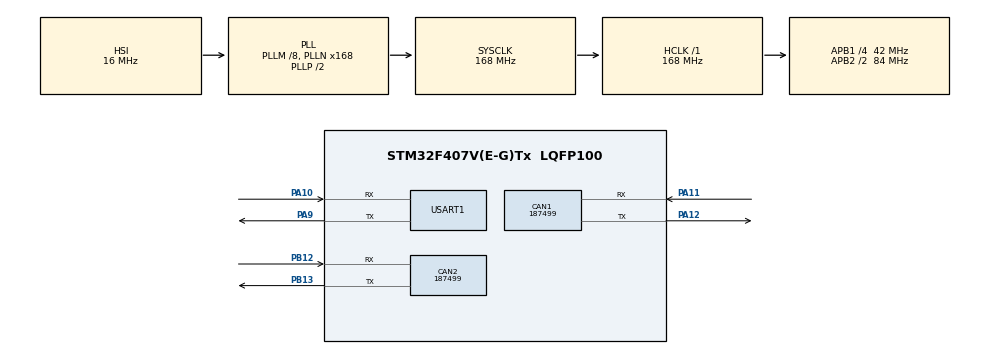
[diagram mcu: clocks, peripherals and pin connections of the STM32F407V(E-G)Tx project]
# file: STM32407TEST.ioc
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CAN1.BS1=CAN_BS1_11TQ
CAN1.BS2=CAN_BS2_2TQ
CAN1.CalculateBaudRate=187499
CAN1.CalculateTimeBit=5333
CAN1.CalculateTimeQuantum=380.95238095238096
CAN1.Mode=CAN_MODE_NORMAL
CAN2.BS1=CAN_BS1_11TQ
CAN2.BS2=CAN_BS2_2TQ
CAN2.CalculateBaudRate=187499
CAN2.CalculateTimeBit=5333
CAN2.CalculateTimeQuantum=380.95238095238096
FREERTOS.Tasks01=defaultTask,24,128,StartDefaultTask,Default,NULL,Dynamic,NULL,NULL
Mcu.Family=STM32F4
Mcu.Name=STM32F407V(E-G)Tx
Mcu.Package=LQFP100
NVIC.CAN1_RX0_IRQn=true\:5\:0\:false\:false\:true\:true\:true\:true\:true
NVIC.CAN2_RX0_IRQn=true\:5\:0\:false\:false\:true\:true\:true\:true\:true
NVIC.PriorityGroup=NVIC_PRIORITYGROUP_4
NVIC.TIM6_DAC_IRQn=true\:15\:0\:false\:false\:true\:false\:false\:true\:true
NVIC.TimeBase=TIM6_DAC_IRQn
NVIC.TimeBaseIP=TIM6
PA10.Mode=Asynchronous
PA10.Signal=USART1_RX
PA11.GPIO_PuPd=GPIO_PULLUP
PA11.Mode=CAN_Activate
PA11.Signal=CAN1_RX
PA12.Mode=CAN_Activate
PA12.Signal=CAN1_TX
PA13.Mode=Serial_Wire
PA13.Signal=SYS_JTMS-SWDIO
PA14.Mode=Serial_Wire
PA14.Signal=SYS_JTCK-SWCLK
PA9.Mode=Asynchronous
PA9.Signal=USART1_TX
PB12.Mode=CAN_Activate
PB12.Signal=CAN2_RX
PB13.Mode=CAN_Activate
PB13.Signal=CAN2_TX
PH0-OSC_IN.Mode=HSE-External-Oscillator
PH0-OSC_IN.Signal=RCC_OSC_IN
PH1-OSC_OUT.Mode=HSE-External-Oscillator
PH1-OSC_OUT.Signal=RCC_OSC_OUT
ProjectManager.HeapSize=0x200
ProjectManager.StackSize=0x400
ProjectManager.TargetToolchain=STM32CubeIDE
RCC.48MHZClocksFreq_Value=84000000
RCC.AHBFreq_Value=168000000
RCC.APB1CLKDivider=RCC_HCLK_DIV4
RCC.APB1Freq_Value=42000000
RCC.APB1TimFreq_Value=84000000
RCC.APB2CLKDivider=RCC_HCLK_DIV2
RCC.APB2Freq_Value=84000000
RCC.APB2TimFreq_Value=168000000
RCC.CortexFreq_Value=168000000
RCC.HCLKFreq_Value=168000000
RCC.HSE_VALUE=8000000
RCC.HSI_VALUE=16000000
RCC.LSE_VALUE=32768
RCC.PLLM=8
RCC.PLLN=168
RCC.SYSCLKFreq_VALUE=168000000
RCC.SYSCLKSource=RCC_SYSCLKSOURCE_PLLCLK
RCC.VCOOutputFreq_Value=336000000
USART1.VirtualMode=VM_ASYNC
VP_FREERTOS_VS_CMSIS_V2.Mode=CMSIS_V2
VP_SYS_VS_tim6.Mode=TIM6
board=custom

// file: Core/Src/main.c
/* USER CODE BEGIN Header */
/**
  ******************************************************************************
  * @file           : main.c
  * @brief          : Main program body - Automotive Telematics & Gateway (Phase 5)
  *                   Features: Dual bxCAN, J1939 Powertrain, FreeRTOS CMSIS_V2,
  *                             UDS ISO 14229 (0x22, 0x27, 0x14, 0x19),
  *                             ISO-TP ISO 15765-2 Multi-frame VIN Reassembly,
  *                             Flash Sector 7 Crash Freeze Frame Data Logger.
  ******************************************************************************
  * @attention
  *
  * Copyright (c) 2026 STMicroelectronics.
  * All rights reserved.
  *
  ******************************************************************************
  */
/* USER CODE END Header */
#include "main.h"
#include "cmsis_os.h"

/* USER CODE BEGIN Includes */
#include <stdio.h>
#include <string.h>
/* USER CODE END Includes */

CAN_HandleTypeDef hcan1;
CAN_HandleTypeDef hcan2;

UART_HandleTypeDef huart1;

/* Definitions for defaultTask */
osThreadId_t defaultTaskHandle;
const osThreadAttr_t defaultTask_attributes = {
  .name = "defaultTask",
  .stack_size = 128 * 4,
  .priority = (osPriority_t) osPriorityNormal,
};

/* USER CODE BEGIN PV */
osSemaphoreId_t canSemHandle;
osThreadId_t powertrainTaskHandle;
osThreadId_t gatewayRxTaskHandle;
osThreadId_t telematicsTaskHandle;

void StartPowertrainTask(void *argument);
void StartGatewayRxTask(void *argument);
void StartTelematicsTask(void *argument);

typedef struct __attribute__((packed)){
	uint16_t rpm;
	uint8_t speed;
	uint8_t coolant_temp;
	uint8_t throttle;
	uint8_t mil_lamp: 1;
	uint8_t overheat: 1;
	uint8_t drive_mode: 2;
	uint8_t brake_pedal: 1;
	uint8_t reserved: 3;
	uint16_t dtc_code;
} Powertrain_Data_t;

typedef union {
	Powertrain_Data_t data;
	uint8_t raw_bytes[8];
} Powertrain_Packet_u;

Powertrain_Packet_u tx_vehicle;
Powertrain_Packet_u rx_vehicle;

CAN_TxHeaderTypeDef tx_hdr_powertrain;
uint32_t tx_mailbox_can1;

// ============================================================================
// UDS (ISO 14229) & ISO-TP (ISO 15765-2) DEFINITIONS
// ============================================================================
const char VEHICLE_VIN[17] = "VF8VN2026TEST001"; // 17 ký tự VIN chuẩn quốc tế

#define UDS_SID_READ_DID         0x22  // Read Data By Identifier
#define UDS_SID_SECURITY_ACCESS  0x27  // Security Access
#define UDS_SID_READ_DTC         0x19  // Read DTC Information / Freeze Frame
#define UDS_SID_CLEAR_DTC        0x14  // Clear Diagnostic Information
#define UDS_DID_VIN              0xF190 // DID chuẩn số khung VIN

CAN_TxHeaderTypeDef tx_hdr_uds_tester; // ID 0x7DF (Tester phát lệnh)
CAN_TxHeaderTypeDef tx_hdr_uds_ecu;    // ID 0x7E8 (ECU phát trả lời)
uint32_t            tx_mailbox_uds;

uint8_t isotp_rx_buffer[32];
uint8_t isotp_rx_index = 0;
uint8_t isotp_total_len = 0;

char last_vin_received[20] = "CHUA DOC (0xF190)";
char last_security_status[32] = "LOCKED (0x27)";
uint16_t ecu_security_seed = 0;
uint8_t  ecu_security_unlocked = 0;

// ============================================================================
// CRASH DATA LOGGER & FLASH SECTOR 7 DEFINITIONS
// ============================================================================
#define FLASH_CRASH_SECTOR      FLASH_SECTOR_7
#define FLASH_CRASH_ADDR        0x08060000U
#define FLASH_MAGIC_KEY         0xA55A1234U

typedef struct __attribute__((packed)) {
    uint32_t magic_key;     // 0xA55A1234: Co du lieu hop den
    uint32_t timestamp_ms;  // Thoi diem va cham
    uint16_t dtc_code;      // 0x0115 (P0115)
    uint8_t  speed;         // km/h
    uint16_t rpm;           // RPM
    uint8_t  throttle;      // %
    uint8_t  coolant_temp;  // do C
    uint8_t  brake_pedal;   // 1
    uint8_t  crash_severity;// 2 = Critical
} Crash_FreezeFrame_t;

Crash_FreezeFrame_t saved_crash_data;
uint8_t has_saved_crash = 0;
char last_crash_str[64] = "FLASH EMPTY (READY)";
/* USER CODE END PV */

void SystemClock_Config(void);
static void MX_GPIO_Init(void);
static void MX_CAN1_Init(void);
static void MX_USART1_UART_Init(void);
static void MX_CAN2_Init(void);
void StartDefaultTask(void *argument);

/* USER CODE BEGIN 0 */
int _write(int file, char *ptr, int len)
{
  HAL_UART_Transmit(&huart1, (uint8_t *)ptr, len, HAL_MAX_DELAY);
  return len;
}

int __io_putchar(int ch)
{
  HAL_UART_Transmit(&huart1, (uint8_t *)&ch, 1, HAL_MAX_DELAY);
  return ch;
}

// ============================================================================
// FLASH SECTOR 7 DRIVER (NON-VOLATILE CRASH DATA STORAGE)
// ============================================================================
void Flash_Save_CrashData(Crash_FreezeFrame_t *data)
{
    FLASH_EraseInitTypeDef EraseInitStruct;
    uint32_t SectorError = 0;

    HAL_FLASH_Unlock();

    EraseInitStruct.TypeErase    = FLASH_TYPEERASE_SECTORS;
    EraseInitStruct.VoltageRange = FLASH_VOLTAGE_RANGE_3;
    EraseInitStruct.Sector       = FLASH_CRASH_SECTOR;
    EraseInitStruct.NbSectors    = 1;

    if (HAL_FLASHEx_Erase(&EraseInitStruct, &SectorError) == HAL_OK)
    {
        uint32_t *src = (uint32_t *)data;
        uint32_t words_to_write = (sizeof(Crash_FreezeFrame_t) + 3) / 4;
        for (uint32_t i = 0; i < words_to_write; i++)
        {
            HAL_FLASH_Program(FLASH_TYPEPROGRAM_WORD, FLASH_CRASH_ADDR + (i * 4), src[i]);
        }
    }

    HAL_FLASH_Lock();
}

void Flash_Clear_CrashData(void)
{
    FLASH_EraseInitTypeDef EraseInitStruct;
    uint32_t SectorError = 0;

    HAL_FLASH_Unlock();

    EraseInitStruct.TypeErase    = FLASH_TYPEERASE_SECTORS;
    EraseInitStruct.VoltageRange = FLASH_VOLTAGE_RANGE_3;
    EraseInitStruct.Sector       = FLASH_CRASH_SECTOR;
    EraseInitStruct.NbSectors    = 1;

    HAL_FLASHEx_Erase(&EraseInitStruct, &SectorError);

    HAL_FLASH_Lock();
}

uint8_t Flash_Read_CrashData(Crash_FreezeFrame_t *out_data)
{
    Crash_FreezeFrame_t *flash_ptr = (Crash_FreezeFrame_t *)FLASH_CRASH_ADDR;
    if (flash_ptr->magic_key == FLASH_MAGIC_KEY)
    {
        memcpy(out_data, flash_ptr, sizeof(Crash_FreezeFrame_t));
        return 1;
    }
    return 0;
}

void CAN_Filter_Config(void)
{
	CAN_FilterTypeDef sFilterConfig;

	// Bank 0 cho CAN1: Cho qua tat ca (Mask = 0) de nhan ca 0x7DF / 0x7E0
	sFilterConfig.FilterBank = 0;
	sFilterConfig.FilterMode = CAN_FILTERMODE_IDMASK;
	sFilterConfig.FilterScale = CAN_FILTERSCALE_32BIT;
	sFilterConfig.FilterIdHigh = 0x0000;
	sFilterConfig.FilterIdLow = 0x0000;
	sFilterConfig.FilterMaskIdHigh = 0x0000;
	sFilterConfig.FilterMaskIdLow = 0x0000;
	sFilterConfig.FilterFIFOAssignment = CAN_RX_FIFO0;
	sFilterConfig.FilterActivation = ENABLE;
	sFilterConfig.SlaveStartFilterBank = 14;
	HAL_CAN_ConfigFilter(&hcan1, &sFilterConfig);

	// Bank 14 cho CAN2: Cho qua tat ca (Mask = 0) de nhan ca Powertrain 0x0CF00400 va UDS Response 0x7E8
	sFilterConfig.FilterBank = 14;
	sFilterConfig.FilterMode = CAN_FILTERMODE_IDMASK;
	sFilterConfig.FilterScale = CAN_FILTERSCALE_32BIT;
	sFilterConfig.FilterIdHigh = 0x0000;
	sFilterConfig.FilterIdLow = 0x0000;
	sFilterConfig.FilterMaskIdHigh = 0x0000; // Mo Mask = 0 de CAN2 nhan duoc ca 0x7E8 va 0x0CF00400
	sFilterConfig.FilterMaskIdLow = 0x0000;
	sFilterConfig.FilterFIFOAssignment = CAN_RX_FIFO0;
	sFilterConfig.FilterActivation = ENABLE;
	HAL_CAN_ConfigFilter(&hcan1, &sFilterConfig);
}

void HAL_CAN_RxFifo0MsgPendingCallback(CAN_HandleTypeDef *hcan)
{
  CAN_RxHeaderTypeDef rx_hdr;
  uint8_t rx_data[8];

  // ------------------------------------------------------------------------
  // 1. CAN1 (ENGINE ECU) NHAN LENH CHUAN DOAN TU TESTER (ID 0x7DF HOAC 0x7E0)
  // ------------------------------------------------------------------------
  if (hcan->Instance == CAN1)
  {
    if (HAL_CAN_GetRxMessage(hcan, CAN_RX_FIFO0, &rx_hdr, rx_data) == HAL_OK)
    {
      if (rx_hdr.IDE == CAN_ID_STD && (rx_hdr.StdId == 0x7DF || rx_hdr.StdId == 0x7E0))
      {
        uint8_t pci_type = (rx_data[0] & 0xF0) >> 4;

        // a) SINGLE FRAME (0x0...): Tester gui yeu cau UDS
        if (pci_type == 0x00)
        {
          uint8_t sid = rx_data[1];

          // DICH VU 0x22: READ DATA BY IDENTIFIER (DOC SO VIN)
          if (sid == UDS_SID_READ_DID)
          {
            uint16_t did = ((uint16_t)rx_data[2] << 8) | rx_data[3];
            if (did == UDS_DID_VIN)
            {
              // So VIN 17 byte + 3 byte header (0x62, 0xF1, 0x90) = 20 byte!
              // Du lieu > 7 byte -> Bat buoc phat First Frame (FF) theo chuan ISO-TP
              uint8_t ff_data[8];
              ff_data[0] = 0x10; // PCI: First Frame
              ff_data[1] = 0x14; // Tong kich thuoc: 20 byte (0x014)
              ff_data[2] = 0x62; // Positive Response (0x22 + 0x40)
              ff_data[3] = 0xF1;
              ff_data[4] = 0x90;
              ff_data[5] = VEHICLE_VIN[0]; // 'V'
              ff_data[6] = VEHICLE_VIN[1]; // 'F'
              ff_data[7] = VEHICLE_VIN[2]; // '8'
              HAL_CAN_AddTxMessage(&hcan1, &tx_hdr_uds_ecu, ff_data, &tx_mailbox_uds);
            }
          }
          // DICH VU 0x27: SECURITY ACCESS
          else if (sid == UDS_SID_SECURITY_ACCESS)
          {
            uint8_t sub_func = rx_data[2];
            if (sub_func == 0x01) // Xin Seed
            {
              ecu_security_seed = 0x5A3C;
              uint8_t seed_resp[8] = {0x04, 0x67, 0x01, (uint8_t)(ecu_security_seed >> 8), (uint8_t)(ecu_security_seed & 0xFF), 0xAA, 0xAA, 0xAA};
              HAL_CAN_AddTxMessage(&hcan1, &tx_hdr_uds_ecu, seed_resp, &tx_mailbox_uds);
            }
            else if (sub_func == 0x02) // Gui Key
            {
              uint16_t key_rx = ((uint16_t)rx_data[3] << 8) | rx_data[4];
              uint16_t key_exp = ecu_security_seed ^ 0xABCD; // Thuat toan: Key = Seed XOR 0xABCD
              if (key_rx == key_exp)
              {
                ecu_security_unlocked = 1;
                uint8_t key_ok[8] = {0x02, 0x67, 0x02, 0xAA, 0xAA, 0xAA, 0xAA, 0xAA};
                HAL_CAN_AddTxMessage(&hcan1, &tx_hdr_uds_ecu, key_ok, &tx_mailbox_uds);
              }
              else
              {
                ecu_security_unlocked = 0;
                uint8_t key_fail[8] = {0x03, 0x7F, 0x27, 0x35, 0xAA, 0xAA, 0xAA, 0xAA}; // NRC 0x35 = Invalid Key
                HAL_CAN_AddTxMessage(&hcan1, &tx_hdr_uds_ecu, key_fail, &tx_mailbox_uds);
              }
            }
          }
          // DICH VU 0x14: CLEAR DIAGNOSTIC INFORMATION (XOA DTC & XOA HOP DEN FLASH)
          else if (sid == UDS_SID_CLEAR_DTC)
          {
            tx_vehicle.data.dtc_code = 0x0000;
            tx_vehicle.data.mil_lamp = 0;
            Flash_Clear_CrashData();
            has_saved_crash = 0;
            strcpy(last_crash_str, "FLASH EMPTY (READY)");

            uint8_t clr_resp[8] = {0x01, 0x54, 0xAA, 0xAA, 0xAA, 0xAA, 0xAA, 0xAA}; // 0x14 + 0x40 = 0x54
            HAL_CAN_AddTxMessage(&hcan1, &tx_hdr_uds_ecu, clr_resp, &tx_mailbox_uds);
          }
          // DICH VU 0x19: READ DTC & FREEZE FRAME
          else if (sid == UDS_SID_READ_DTC)
          {
            uint8_t sub_func = rx_data[2];
            if (sub_func == 0x02) // Read DTC By Status Mask
            {
              if (tx_vehicle.data.dtc_code != 0)
              {
                uint8_t dtc_resp[8] = {0x06, 0x59, 0x02, 0xFF, (uint8_t)(tx_vehicle.data.dtc_code >> 8), (uint8_t)(tx_vehicle.data.dtc_code & 0xFF), 0x24, 0xAA};
                HAL_CAN_AddTxMessage(&hcan1, &tx_hdr_uds_ecu, dtc_resp, &tx_mailbox_uds);
              }
              else
              {
                uint8_t no_dtc[8] = {0x03, 0x59, 0x02, 0x00, 0xAA, 0xAA, 0xAA, 0xAA};
                HAL_CAN_AddTxMessage(&hcan1, &tx_hdr_uds_ecu, no_dtc, &tx_mailbox_uds);
              }
            }
            else if (sub_func == 0x04) // Read DTC Snapshot / Freeze Frame
            {
              if (Flash_Read_CrashData(&saved_crash_data))
              {
                uint8_t ff_resp[8] = {
                  0x07, 0x59, 0x04,
                  saved_crash_data.speed,
                  (uint8_t)(saved_crash_data.rpm >> 8),
                  (uint8_t)(saved_crash_data.rpm & 0xFF),
                  saved_crash_data.throttle,
                  saved_crash_data.coolant_temp
                };
                HAL_CAN_AddTxMessage(&hcan1, &tx_hdr_uds_ecu, ff_resp, &tx_mailbox_uds);
              }
              else
              {
                uint8_t no_ff[8] = {0x03, 0x7F, 0x19, 0x31, 0xAA, 0xAA, 0xAA, 0xAA}; // NRC 0x31 = Request Out Of Range
                HAL_CAN_AddTxMessage(&hcan1, &tx_hdr_uds_ecu, no_ff, &tx_mailbox_uds);
              }
            }
          }
        }
        // b) FLOW CONTROL (0x3...): Tester dong y cho ECU ban tiep Consecutive Frames
        else if (pci_type == 0x03)
        {
          // Phat Consecutive Frame 1: 7 byte (VIN[3..9])
          uint8_t cf1[8];
          cf1[0] = 0x21; // CF Sequence 1
          memcpy(&cf1[1], &VEHICLE_VIN[3], 7);
          HAL_CAN_AddTxMessage(&hcan1, &tx_hdr_uds_ecu, cf1, &tx_mailbox_uds);

          // Phat Consecutive Frame 2: 7 byte con lai (VIN[10..16])
          uint8_t cf2[8];
          cf2[0] = 0x22; // CF Sequence 2
          memcpy(&cf2[1], &VEHICLE_VIN[10], 7);
          HAL_CAN_AddTxMessage(&hcan1, &tx_hdr_uds_ecu, cf2, &tx_mailbox_uds);
        }
      }
    }
  }
  // ------------------------------------------------------------------------
  // 2. CAN2 (GATEWAY / TESTER) NHAN PHAN HOI TU ECU (0x0CF00400 HOAC 0x7E8)
  // ------------------------------------------------------------------------
  else if (hcan->Instance == CAN2)
  {
    if (HAL_CAN_GetRxMessage(hcan, CAN_RX_FIFO0, &rx_hdr, rx_data) == HAL_OK)
    {
      // a) Goi tin Powertrain dinh ky J1939 ExtID 0x0CF00400
      if (rx_hdr.IDE == CAN_ID_EXT && rx_hdr.ExtId == 0x0CF00400)
      {
        memcpy(rx_vehicle.raw_bytes, rx_data, 8);
        if (canSemHandle != NULL)
        {
          osSemaphoreRelease(canSemHandle);
        }
      }
      // b) Goi tin UDS / ISO-TP Response StdID 0x7E8
      else if (rx_hdr.IDE == CAN_ID_STD && rx_hdr.StdId == 0x7E8)
      {
        uint8_t pci_type = (rx_data[0] & 0xF0) >> 4;

        // FIRST FRAME (0x1...): Nhan mau dau tien cua so VIN
        if (pci_type == 0x01)
        {
          isotp_total_len = (((uint16_t)rx_data[0] & 0x0F) << 8) | rx_data[1]; // 20 byte
          isotp_rx_index = 0;
          memcpy(&isotp_rx_buffer[0], &rx_data[2], 6); // Luu 6 byte dau
          isotp_rx_index = 6;

          // Tester lap tuc ban Flow Control (FC: Clear to Send) sang ECU
          uint8_t fc_frame[8] = {0x30, 0x00, 0x00, 0xAA, 0xAA, 0xAA, 0xAA, 0xAA};
          HAL_CAN_AddTxMessage(&hcan2, &tx_hdr_uds_tester, fc_frame, &tx_mailbox_uds);
        }
        // CONSECUTIVE FRAME 1 (0x21)
        else if (rx_data[0] == 0x21)
        {
          memcpy(&isotp_rx_buffer[isotp_rx_index], &rx_data[1], 7);
          isotp_rx_index += 7;
        }
        // CONSECUTIVE FRAME 2 (0x22)
        else if (rx_data[0] == 0x22)
        {
          memcpy(&isotp_rx_buffer[isotp_rx_index], &rx_data[1], 7);
          isotp_rx_index += 7;

          // Ghep du 17 ky tu so VIN vao chuoi!
          memcpy(last_vin_received, &isotp_rx_buffer[3], 17);
          last_vin_received[17] = '\0';
        }
        // SINGLE FRAME (0x0...): Phan hoi UDS
        else if (pci_type == 0x00)
        {
          // Phan hoi Security Access (0x67)
          if (rx_data[1] == 0x67 && rx_data[2] == 0x01) // Nhan Seed
          {
            uint16_t seed = ((uint16_t)rx_data[3] << 8) | rx_data[4];
            uint16_t key = seed ^ 0xABCD; // Tester tu dong giai toan Key = Seed XOR 0xABCD
            uint8_t send_key[8] = {0x04, 0x27, 0x02, (uint8_t)(key >> 8), (uint8_t)(key & 0xFF), 0xAA, 0xAA, 0xAA};
            HAL_CAN_AddTxMessage(&hcan2, &tx_hdr_uds_tester, send_key, &tx_mailbox_uds);
          }
          else if (rx_data[1] == 0x67 && rx_data[2] == 0x02) // Bao mo khoa thanh cong
          {
            strcpy(last_security_status, "UNLOCKED (0x27 OK)");
          }
          else if (rx_data[1] == 0x7F && rx_data[2] == 0x27) // Bao that bai
          {
            strcpy(last_security_status, "LOCKED (NRC 0x35)");
          }
          // Phan hoi Clear DTC (0x54)
          else if (rx_data[1] == 0x54)
          {
            has_saved_crash = 0;
            strcpy(last_crash_str, "FLASH EMPTY (READY)");
          }
          // Phan hoi Read Freeze Frame (0x59 0x04)
          else if (rx_data[1] == 0x59 && rx_data[2] == 0x04)
          {
            uint8_t spd = rx_data[3];
            uint16_t rpm = ((uint16_t)rx_data[4] << 8) | rx_data[5];
            uint8_t thr = rx_data[6];
            uint8_t temp = rx_data[7];
            has_saved_crash = 1;
            snprintf(last_crash_str, sizeof(last_crash_str), "CRASH: %ukm/h, %uRPM, %u%%, %uC", spd, rpm, thr, temp);
          }
        }
      }
    }
  }
}
/* USER CODE END 0 */

int main(void)
{

  /* MCU Configuration--------------------------------------------------------*/

  /* Reset of all peripherals, Initializes the Flash interface and the Systick. */
  HAL_Init();

  /* Configure the system clock */
  SystemClock_Config();

  /* Initialize all configured peripherals */
  MX_GPIO_Init();
  MX_CAN1_Init();
  MX_USART1_UART_Init();
  MX_CAN2_Init();
  /* USER CODE BEGIN 2 */

  CAN_Filter_Config();

  // Doc kiem tra hop den Flash Sector 7 luc khoi dong
  if (Flash_Read_CrashData(&saved_crash_data))
  {
    has_saved_crash = 1;
    snprintf(last_crash_str, sizeof(last_crash_str), "CRASH: %ukm/h, %uRPM, P%04X", saved_crash_data.speed, saved_crash_data.rpm, saved_crash_data.dtc_code);
  }
  else
  {
    has_saved_crash = 0;
    strcpy(last_crash_str, "FLASH EMPTY (READY)");
  }

  if(HAL_CAN_Start(&hcan1) != HAL_OK) Error_Handler();
  if(HAL_CAN_Start(&hcan2) != HAL_OK) Error_Handler();

  if(HAL_CAN_ActivateNotification(&hcan1, CAN_IT_RX_FIFO0_MSG_PENDING) != HAL_OK) Error_Handler();
  if(HAL_CAN_ActivateNotification(&hcan2, CAN_IT_RX_FIFO0_MSG_PENDING) != HAL_OK) Error_Handler();

  tx_hdr_powertrain.ExtId = 0x0CF00400;
  tx_hdr_powertrain.IDE = CAN_ID_EXT;
  tx_hdr_powertrain.RTR = CAN_RTR_DATA;
  tx_hdr_powertrain.DLC = 8;
  tx_hdr_powertrain.TransmitGlobalTime = DISABLE;

  tx_vehicle.data.rpm = 800;
  tx_vehicle.data.speed = 0;
  tx_vehicle.data.coolant_temp = 85 + 40;
  tx_vehicle.data.throttle = 15;
  tx_vehicle.data.drive_mode = 1;
  tx_vehicle.data.mil_lamp = 0;
  tx_vehicle.data.overheat = 0;
  tx_vehicle.data.brake_pedal = 0;
  tx_vehicle.data.dtc_code = 0x0000;

  // Khoi tao Header UDS Tester (0x7DF) va ECU (0x7E8)
  tx_hdr_uds_tester.StdId = 0x7DF;
  tx_hdr_uds_tester.IDE   = CAN_ID_STD;
  tx_hdr_uds_tester.RTR   = CAN_RTR_DATA;
  tx_hdr_uds_tester.DLC   = 8;
  tx_hdr_uds_tester.TransmitGlobalTime = DISABLE;

  tx_hdr_uds_ecu.StdId = 0x7E8;
  tx_hdr_uds_ecu.IDE   = CAN_ID_STD;
  tx_hdr_uds_ecu.RTR   = CAN_RTR_DATA;
  tx_hdr_uds_ecu.DLC   = 8;
  tx_hdr_uds_ecu.TransmitGlobalTime = DISABLE;

  /* USER CODE END 2 */

  /* Init scheduler */
  osKernelInitialize();

  /* USER CODE BEGIN RTOS_SEMAPHORES */
  canSemHandle = osSemaphoreNew(1, 0, NULL);
  /* add semaphores, ... */
  /* USER CODE END RTOS_SEMAPHORES */

  /* Create the thread(s) */
  /* creation of defaultTask */
  defaultTaskHandle = osThreadNew(StartDefaultTask, NULL, &defaultTask_attributes);

  /* USER CODE BEGIN RTOS_THREADS */
  const osThreadAttr_t powertrain_attr = {
     .name = "Powertrain",
     .stack_size = 256 * 4,
     .priority = (osPriority_t) osPriorityAboveNormal, // Ưu tiên cao
   };
   const osThreadAttr_t gateway_attr = {
     .name = "GatewayRx",
     .stack_size = 256 * 4,
     .priority = (osPriority_t) osPriorityRealtime,    // Ưu tiên thời gian thực
   };
   const osThreadAttr_t telematics_attr = {
     .name = "Telematics",
     .stack_size = 512 * 4,                           // Stack lớn hơn cho printf
     .priority = (osPriority_t) osPriorityNormal,      // Ưu tiên bình thường
   };
   // Tạo 3 Task chạy song song
   powertrainTaskHandle = osThreadNew(StartPowertrainTask, NULL, &powertrain_attr);
   gatewayRxTaskHandle  = osThreadNew(StartGatewayRxTask, NULL, &gateway_attr);
   telematicsTaskHandle = osThreadNew(StartTelematicsTask, NULL, &telematics_attr);
  /* USER CODE END RTOS_THREADS */

  /* Start scheduler */
  osKernelStart();

  /* We should never get here as control is now taken by the scheduler */

  /* Infinite loop */
  while (1)
  {

  }
}

void SystemClock_Config(void)
{
  RCC_OscInitTypeDef RCC_OscInitStruct = {0};
  RCC_ClkInitTypeDef RCC_ClkInitStruct = {0};

  /** Configure the main internal regulator output voltage
  */
  __HAL_PWR_VOLTAGESCALING_CONFIG(PWR_REGULATOR_VOLTAGE_SCALE1);
  __HAL_RCC_PWR_CLK_ENABLE();

  /** Initializes the RCC Oscillators according to the specified parameters
  * in the RCC_OscInitTypeDef structure.
  */
  RCC_OscInitStruct.OscillatorType = RCC_OSCILLATORTYPE_HSI;
  RCC_OscInitStruct.HSIState = RCC_HSI_ON;
  RCC_OscInitStruct.HSICalibrationValue = RCC_HSICALIBRATION_DEFAULT;
  RCC_OscInitStruct.PLL.PLLState = RCC_PLL_ON;
  RCC_OscInitStruct.PLL.PLLSource = RCC_PLLSOURCE_HSI;
  RCC_OscInitStruct.PLL.PLLM = 8;
  RCC_OscInitStruct.PLL.PLLN = 168;
  RCC_OscInitStruct.PLL.PLLP = RCC_PLLP_DIV2;
  RCC_OscInitStruct.PLL.PLLQ = 4;
  if (HAL_RCC_OscConfig(&RCC_OscInitStruct) != HAL_OK)
  {
    Error_Handler();
  }

  /** Initializes the CPU, AHB and APB buses clocks
  */
  RCC_ClkInitStruct.ClockType = RCC_CLOCKTYPE_HCLK|RCC_CLOCKTYPE_SYSCLK
                              |RCC_CLOCKTYPE_PCLK1|RCC_CLOCKTYPE_PCLK2;
  RCC_ClkInitStruct.SYSCLKSource = RCC_SYSCLKSOURCE_PLLCLK;
  RCC_ClkInitStruct.AHBCLKDivider = RCC_SYSCLK_DIV1;
  RCC_ClkInitStruct.APB1CLKDivider = RCC_HCLK_DIV4;
  RCC_ClkInitStruct.APB2CLKDivider = RCC_HCLK_DIV2;

  if (HAL_RCC_ClockConfig(&RCC_ClkInitStruct, FLASH_LATENCY_5) != HAL_OK)
  {
    Error_Handler();
  }
}

static void MX_CAN1_Init(void)
{

  hcan1.Instance = CAN1;
  hcan1.Init.Prescaler = 6;
  hcan1.Init.Mode = CAN_MODE_NORMAL;
  hcan1.Init.SyncJumpWidth = CAN_SJW_1TQ;
  hcan1.Init.TimeSeg1 = CAN_BS1_11TQ;
  hcan1.Init.TimeSeg2 = CAN_BS2_2TQ;
  hcan1.Init.TimeTriggeredMode = DISABLE;
  hcan1.Init.AutoBusOff = ENABLE;
  hcan1.Init.AutoWakeUp = DISABLE;
  hcan1.Init.AutoRetransmission = ENABLE;
  hcan1.Init.ReceiveFifoLocked = DISABLE;
  hcan1.Init.TransmitFifoPriority = DISABLE;
  if (HAL_CAN_Init(&hcan1) != HAL_OK)
  {
    Error_Handler();
  }

}

static void MX_CAN2_Init(void)
{

  hcan2.Instance = CAN2;
  hcan2.Init.Prescaler = 6;
  hcan2.Init.Mode = CAN_MODE_NORMAL;
  hcan2.Init.SyncJumpWidth = CAN_SJW_1TQ;
  hcan2.Init.TimeSeg1 = CAN_BS1_11TQ;
  hcan2.Init.TimeSeg2 = CAN_BS2_2TQ;
  hcan2.Init.TimeTriggeredMode = DISABLE;
  hcan2.Init.AutoBusOff = ENABLE;
  hcan2.Init.AutoWakeUp = DISABLE;
  hcan2.Init.AutoRetransmission = ENABLE;
  hcan2.Init.ReceiveFifoLocked = DISABLE;
  hcan2.Init.TransmitFifoPriority = DISABLE;
  if (HAL_CAN_Init(&hcan2) != HAL_OK)
  {
    Error_Handler();
  }

}

static void MX_USART1_UART_Init(void)
{

  huart1.Instance = USART1;
  huart1.Init.BaudRate = 115200;
  huart1.Init.WordLength = UART_WORDLENGTH_8B;
  huart1.Init.StopBits = UART_STOPBITS_1;
  huart1.Init.Parity = UART_PARITY_NONE;
  huart1.Init.Mode = UART_MODE_TX_RX;
  huart1.Init.HwFlowCtl = UART_HWCONTROL_NONE;
  huart1.Init.OverSampling = UART_OVERSAMPLING_16;
  if (HAL_UART_Init(&huart1) != HAL_OK)
  {
    Error_Handler();
  }

}

static void MX_GPIO_Init(void)
{

  /* GPIO Ports Clock Enable */
  __HAL_RCC_GPIOH_CLK_ENABLE();
  __HAL_RCC_GPIOB_CLK_ENABLE();
  __HAL_RCC_GPIOA_CLK_ENABLE();

}

/* USER CODE BEGIN 4 */
void StartPowertrainTask(void *argument)
{
	for (;;)
	{
		 if (tx_vehicle.data.brake_pedal == 1) {
		      if (tx_vehicle.data.speed > 5) tx_vehicle.data.speed -= 5;
		      else tx_vehicle.data.speed = 0;
		      if (tx_vehicle.data.rpm > 1000) tx_vehicle.data.rpm -= 150;
		      else tx_vehicle.data.rpm = 800;
		      tx_vehicle.data.throttle = 0;
		    } else {
		      tx_vehicle.data.throttle = 25 + (tx_vehicle.data.drive_mode * 25);
		      tx_vehicle.data.rpm += 40; // Tăng ga mượt mà hơn với chu kỳ 50ms
		      if (tx_vehicle.data.rpm > 4500) tx_vehicle.data.rpm = 1200;
		      tx_vehicle.data.speed = tx_vehicle.data.rpm / 40;
		 }
		 HAL_CAN_AddTxMessage(&hcan1, &tx_hdr_powertrain, tx_vehicle.raw_bytes, &tx_mailbox_can1);
		 osDelay(50);
	}
}

void StartGatewayRxTask(void *argument)
{
  for (;;)
  {
    // Ngủ vô tận chờ ngắt CAN2 nhả Semaphore (Tiêu thụ 0% CPU khi không có frame)
    if (osSemaphoreAcquire(canSemHandle, osWaitForever) == osOK)
    {
      // Khi thức dậy: Frame Powertrain đã được nhận an toàn
    }
  }
}

void StartTelematicsTask(void *argument)
{
  for (;;)
  {
    // 1. Kiểm tra phím bấm từ bàn phím PC
    uint8_t key = 0;
    if (HAL_UART_Receive(&huart1, &key, 1, 0) == HAL_OK)
    {
      if (key == 'b' || key == 'B') tx_vehicle.data.brake_pedal = !tx_vehicle.data.brake_pedal;
      else if (key == 'e' || key == 'E') {
        tx_vehicle.data.mil_lamp = 1;
        tx_vehicle.data.dtc_code = 0x0115;
      }
      else if (key == 'c' || key == 'C') {
        // CAN2 phat lenh UDS 0x14 xoa toan bo DTC va xoa Flash Sector 7
        uint8_t clr_req[8] = {0x04, 0x14, 0xFF, 0xFF, 0xFF, 0xAA, 0xAA, 0xAA};
        HAL_CAN_AddTxMessage(&hcan2, &tx_hdr_uds_tester, clr_req, &tx_mailbox_uds);
      }
      else if (key == 'm' || key == 'M') {
        tx_vehicle.data.drive_mode = (tx_vehicle.data.drive_mode + 1) % 3;
      }
      else if (key == 'v' || key == 'V') {
        // CAN2 (Tester) phát lệnh UDS đọc số VIN 17-byte (Service 0x22, DID 0xF190)
        uint8_t vin_req[8] = {0x03, 0x22, 0xF1, 0x90, 0xAA, 0xAA, 0xAA, 0xAA};
        HAL_CAN_AddTxMessage(&hcan2, &tx_hdr_uds_tester, vin_req, &tx_mailbox_uds);
      }
      else if (key == 's' || key == 'S') {
        // CAN2 (Tester) phát lệnh UDS yêu cầu Security Access (Service 0x27, Sub-func 0x01 Request Seed)
        uint8_t sec_req[8] = {0x02, 0x27, 0x01, 0xAA, 0xAA, 0xAA, 0xAA, 0xAA};
        HAL_CAN_AddTxMessage(&hcan2, &tx_hdr_uds_tester, sec_req, &tx_mailbox_uds);
      }
      else if (key == 'r' || key == 'R') {
        // CAN2 (Tester) phat lenh UDS 0x19 0x04 doc Freeze Frame tu ECU
        uint8_t req_ff[8] = {0x04, 0x19, 0x04, 0x01, 0x15, 0xAA, 0xAA, 0xAA};
        HAL_CAN_AddTxMessage(&hcan2, &tx_hdr_uds_tester, req_ff, &tx_mailbox_uds);
      }
      else if (key == 'k' || key == 'K') {
        // Kich hoat va cham khẩn cap: Phanh gap, bao loi dong co P0115
        tx_vehicle.data.brake_pedal = 1;
        tx_vehicle.data.mil_lamp = 1;
        tx_vehicle.data.dtc_code = 0x0115;

        // Chup anh thoi diem va cham (Freeze Frame Snapshot)
        Crash_FreezeFrame_t crash;
        crash.magic_key = FLASH_MAGIC_KEY;
        crash.timestamp_ms = HAL_GetTick();
        crash.dtc_code = 0x0115;
        crash.speed = tx_vehicle.data.speed;
        crash.rpm = tx_vehicle.data.rpm;
        crash.throttle = tx_vehicle.data.throttle;
        crash.coolant_temp = (tx_vehicle.data.coolant_temp > 40) ? (tx_vehicle.data.coolant_temp - 40) : 0;
        crash.brake_pedal = 1;
        crash.crash_severity = 2; // Critical Crash Event

        // Ghi tuc thi vao Flash Sector 7
        Flash_Save_CrashData(&crash);
        memcpy(&saved_crash_data, &crash, sizeof(Crash_FreezeFrame_t));
        has_saved_crash = 1;
        snprintf(last_crash_str, sizeof(last_crash_str), "CRASH: %ukm/h, %uRPM, P0115", crash.speed, crash.rpm);
      }
    }

    // 2. Đọc bộ đếm lỗi phần cứng bxCAN
    uint8_t tec = (CAN1->ESR >> 16) & 0xFF;
    uint8_t rec = (CAN1->ESR >> 24) & 0xFF;
    int16_t real_temp = (int16_t)tx_vehicle.data.coolant_temp - 40;
    char* mode_str[] = {"ECO", "NORMAL", "SPORT"};

    // 3. Xuất luồng Telemetry JSON kèm theo UDS VIN, Security, va Crash Freeze Frame
    printf("{\"rpm\":%u,\"spd\":%u,\"temp\":%d,\"thr\":%u,\"mil\":%u,\"brk\":%u,\"mode\":\"%s\",\"dtc\":\"%s%04X\",\"tec\":%u,\"rec\":%u,\"vin\":\"%s\",\"sec\":\"%s\",\"crash\":%u,\"edr\":\"%s\"}\r\n",
           tx_vehicle.data.rpm,
           tx_vehicle.data.speed,
           real_temp,
           tx_vehicle.data.throttle,
           tx_vehicle.data.mil_lamp,
           tx_vehicle.data.brake_pedal,
           mode_str[tx_vehicle.data.drive_mode],
           (tx_vehicle.data.dtc_code == 0) ? "NONE" : "P",
           tx_vehicle.data.dtc_code,
           tec, rec,
           last_vin_received,
           last_security_status,
           has_saved_crash,
           last_crash_str);

    osDelay(200);
  }
}
/* USER CODE END 4 */

void StartDefaultTask(void *argument)
{
  for(;;)
  {
    osDelay(1);
  }
}

void HAL_TIM_PeriodElapsedCallback(TIM_HandleTypeDef *htim)
{
  if (htim->Instance == TIM6)
  {
    HAL_IncTick();
  }
}

void Error_Handler(void)
{
  __disable_irq();
  while (1)
  {
  }
}
